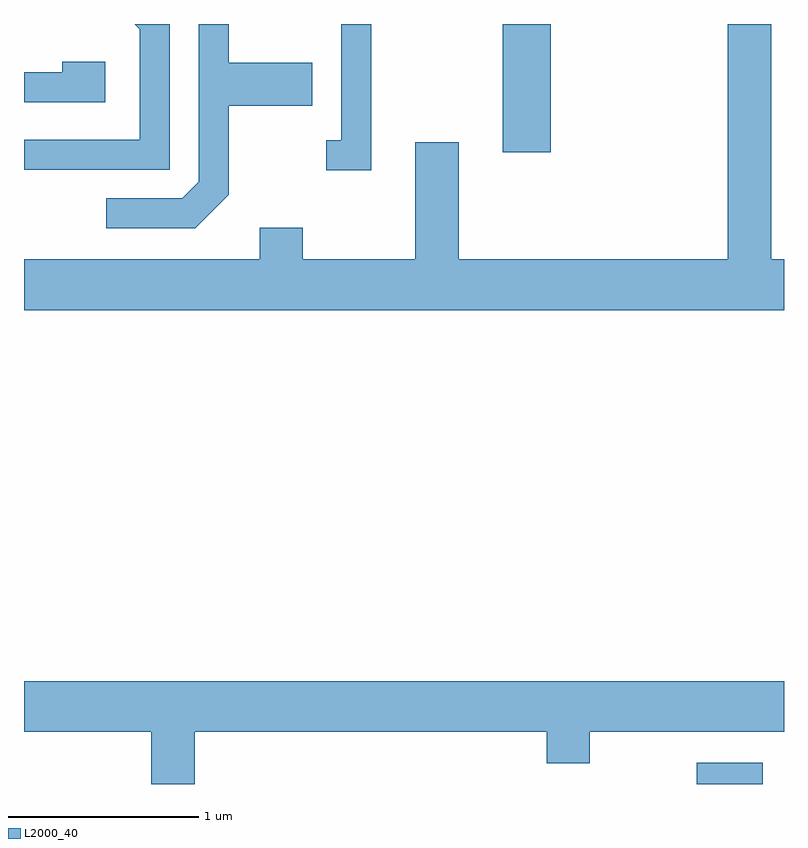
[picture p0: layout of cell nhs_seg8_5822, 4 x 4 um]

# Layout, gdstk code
import gdstk
lib = gdstk.Library(unit=1e-6, precision=1e-09)
def R(c, l, rs):  # rectangles x0, y0, x1, y1
    for r in rs: c.add(gdstk.rectangle(r[:2], r[2:], *l))
def P(c, l, *ps):  # polygons
    for p in ps: c.add(gdstk.Polygon(p, *l))
L2000_40 = (2000, 40)

nhs_seg8_5822 = lib.new_cell('nhs_seg8_5822')
R(nhs_seg8_5822, L2000_40, [(363.153,1858.342,363.499,1858.454), (362.131,1861.666,362.384,1862.342)])
P(nhs_seg8_5822, L2000_40, [(363.611,1861.104),(363.544,1861.104),(363.544,1862.342),(363.316,1862.342),(363.316,1861.104),(361.899,1861.104),(361.899,1861.719),(361.671,1861.719),(361.671,1861.104),(361.079,1861.104),(361.079,1861.269),(360.851,1861.269),(360.851,1861.104),(359.611,1861.104),(359.611,1860.836),(363.611,1860.836)],
  [(360.379,1862.342),(360.193,1862.342),(360.221,1862.314),(360.221,1861.734),(359.611,1861.734),(359.611,1861.576),(360.379,1861.576)],
  [(360.689,1861.444),(360.689,1861.911),(361.129,1861.911),(361.129,1862.139),(360.689,1862.139),(360.689,1862.342),(360.531,1862.342),(360.531,1861.512),(360.444,1861.424),(360.043,1861.424),(360.043,1861.266),(360.512,1861.266)],
  [(361.439,1862.342),(361.281,1862.342),(361.281,1861.729),(361.203,1861.729),(361.203,1861.571),(361.439,1861.571)],
  [(360.039,1862.144),(359.811,1862.144),(359.811,1862.089),(359.611,1862.089),(359.611,1861.931),(360.039,1861.931)],
  [(359.611,1858.616),(360.281,1858.616),(360.281,1858.342),(360.509,1858.342),(360.509,1858.616),(362.361,1858.616),(362.361,1858.451),(362.589,1858.451),(362.589,1858.616),(363.611,1858.616),(363.611,1858.884),(359.611,1858.884)])

lib.write_gds('nhs_seg8_5822.gds')
